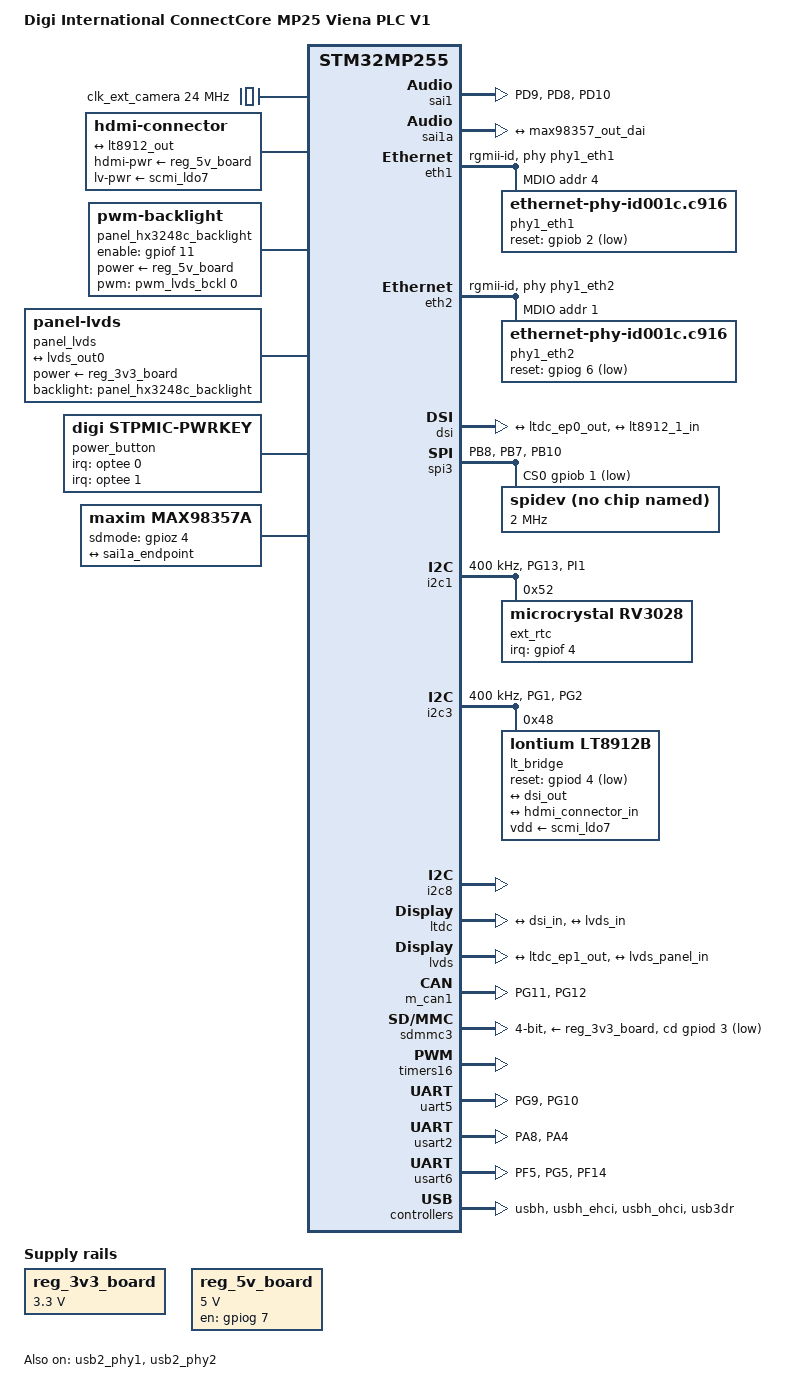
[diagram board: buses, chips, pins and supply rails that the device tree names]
// SPDX-License-Identifier: (GPL-2.0-or-later OR BSD-3-Clause)
/*
 * Copyright (C) 2024,2025, Digi International Inc.
 *
 * Permission to use, copy, modify, and/or distribute this software for any
 * purpose with or without fee is hereby granted, provided that the above
 * copyright notice and this permission notice appear in all copies.
 * THE SOFTWARE IS PROVIDED "AS IS" AND THE AUTHOR DISCLAIMS ALL WARRANTIES
 * WITH REGARD TO THIS SOFTWARE INCLUDING ALL IMPLIED WARRANTIES OF
 * MERCHANTABILITY AND FITNESS. IN NO EVENT SHALL THE AUTHOR BE LIABLE FOR
 * ANY SPECIAL, DIRECT, INDIRECT, OR CONSEQUENTIAL DAMAGES OR ANY DAMAGES
 * WHATSOEVER RESULTING FROM LOSS OF USE, DATA OR PROFITS, WHETHER IN AN
 * ACTION OF CONTRACT, NEGLIGENCE OR OTHER TORTIOUS ACTION, ARISING OUT OF
 * OR IN CONNECTION WITH THE USE OR PERFORMANCE OF THIS SOFTWARE.
 */

/dts-v1/;

/* Digi ConnectCore MP25 (SOM) */
#include "ccmp25.dtsi"

#include <dt-bindings/gpio/gpio.h>
#include <dt-bindings/input/input.h>
#include <dt-bindings/leds/common.h>
#include <dt-bindings/regulator/st,stm32mp25-regulator.h>
#include "dt-bindings/pwm/pwm.h"

/ {
	model = "Digi International ConnectCore MP25 Viena PLC V1";
	compatible = "digi,ccmp25-dvk", "digi,ccmp25", "digi,ccmp2", "st,stm32mp255";
	digi,machine,name = "ccmp255-dvk";

	system-info {
    	compatible = "Viena,system-info";
		product-id = "Viena-CCMP25";
    	pcb-revision = "Rev 1.0";
    	firmware-version = "DEY5.0r3-20260427-dualdisplay-version";
	};

	aliases {
		ethernet0 = &eth1;
		ethernet1 = &eth2;
		serial2 = &uart5; /* Console M33 */
		serial3 = &usart6; /* COMM */
	};

	chosen {
		stdout-path = "serial0:115200n8";
		#address-cells = <2>;
		#size-cells = <2>;
		ranges;

		framebuffer {
			compatible = "simple-framebuffer";
			clocks = <&rcc CK_BUS_LTDC>, <&rcc CK_KER_LTDC>,
				 <&rcc CK_BUS_LVDS>, <&rcc CK_KER_LVDSPHY>;
			status = "disabled";
		};
	};

	clocks {
		cec_clock: cec-clock {
			compatible = "fixed-clock";
			#clock-cells = <0>;
			clock-frequency = <12000000>;
		};

		clk_ext_camera: clk-ext-camera {
			#clock-cells = <0>;
			compatible = "fixed-clock";
			clock-frequency = <24000000>;
		};

		pad_clk: pad-clk {
			#clock-cells = <0>;
			compatible = "fixed-clock";
			clock-frequency = <100000000>;
		};
	};

	hdmi_connector: hdmi-connector {
		compatible = "hdmi-connector";
		label = "hdmi";
		type = "a";
		hdmi-pwr-supply = <&reg_5v_board>;
		lv-pwr-supply = <&scmi_ldo7>; /* 1V8_HDMI */
		// hpd-gpios = <&gpiod 2 GPIO_ACTIVE_HIGH>;
		status = "okay";

		port {
			hdmi_connector_in: endpoint {
				remote-endpoint = <&lt8912_out>;
			};
		};
	};

	panel_hx3248c_backlight: panel-lvds-pwm-backlight {
		compatible = "pwm-backlight";
		/* node TIM16_CH1 period (ns)  20kHz = 50000 */
		pwms = <&pwm_lvds_bckl 0 50000 0>;
		enable-gpios = <&gpiof 11 GPIO_ACTIVE_HIGH>;
    	// brightness-levels = <0 5 15 30 50 75 100 130 165 205 255>;
		brightness-levels = <255 180 170 150 130 100 70 45 25 10 0>;     
    	/* 反相关系，默认亮度：索引 7 → 值 45 ，约50%占空比 */
    	default-brightness-level = <7>;
		power-supply = <&reg_5v_board>;
		power-on-delay-ms = <5>;
    	power-off-delay-ms = <5>;
		status = "okay";
	};

	panel_lvds: panel-lvds {
		compatible = "panel-lvds";
		power-supply = <&reg_3v3_board>;
		/*backlight = <&panel_lvds_gpio_backlight>;*/
		backlight = <&panel_hx3248c_backlight>;
		status = "okay";

		width-mm = <235>;
		height-mm = <143>;
		data-mapping = "vesa-24";

		panel-timing {
			clock-frequency = <51200000>;
			hactive = <1024>;
        	vactive = <600>;
	        hfront-porch = <160>;
    	    hback-porch = <160>;
        	hsync-len = <10>;
	        vfront-porch = <12>;
    	    vback-porch = <23>;
        	vsync-len = <3>;
			hsync-active = <0>;
			vsync-active = <0>;
			de-active = <1>;
			pixelclk-active = <0>;
		};

		port {
			lvds_panel_in: endpoint {
				remote-endpoint = <&lvds_out0>;
			};
		};
	};



	power_button {
		compatible = "digi,stpmic-pwrkey";
		interrupts-extended = <&optee 0>, <&optee 1>;
		interrupt-names = "stpmic_pwrkey_fall", "stpmic_pwrkey_rise";
		status = "okay";
	};


	regulators {
		compatible = "simple-bus";
		#address-cells = <1>;
		#size-cells = <0>;

		reg_3v3_board: regulator-board@1 {
			compatible = "regulator-fixed";
			reg = <1>;
			regulator-name = "3v3_board";
			regulator-min-microvolt = <3300000>;
			regulator-max-microvolt = <3300000>;
			regulator-always-on;
			status = "okay";
		};

		reg_5v_board: regulator-board@2 {
			compatible = "regulator-fixed";
			reg = <2>;
			regulator-name = "5v_board";
			regulator-min-microvolt = <5000000>;
			regulator-max-microvolt = <5000000>;
			regulator-enable-ramp-delay = <8000>;
			gpio = <&gpiog 7 GPIO_ACTIVE_HIGH>; /* 5V_BOARD_EN */
			enable-active-high;
			status = "okay";
		};
	};

	/* AUDIO */
    sound_max98357: sound-max98357 {
        compatible = "audio-graph-card";
        label = "ccmp25-Viena-board";
        status = "okay";
        dais = <&sai1a_port &max98357_out_dai>;
    };

    // MAX98357 Codec 设备节点
    max98357: max98357@0 {
        #sound-dai-cells = <0>;
        compatible = "maxim,max98357a";
        //reg = <0>;
        status = "okay";

        maxim,gain = <2>; 
		sdmode-gpios = <&gpioz 4 GPIO_ACTIVE_HIGH>;

        // 如果 SD/MODE 引脚由硬件固定，不需要软件控制，可以不写以下属性
        // maxim,mode = "i2s"; 

        // 定义端口和端点
        #address-cells = <1>;
        #size-cells = <0>;
        port@0 {
            reg = <0>;
            max98357_out_dai: endpoint {
                remote-endpoint = <&sai1a_endpoint>;
            };
        };
    };


	digital-io {
		status = "okay";
		pinctrl-names = "default", "sleep";
		pinctrl-0 = <&ccmp25_gpio_pins &ccmp25_gpio_z_pins>;
		pinctrl-1 = <&ccmp25_gpio_sleep_pins &ccmp25_gpio_z_sleep_pins>;
	};
};

&sai1 {
    pinctrl-names = "default", "sleep";
    pinctrl-0 = <&ccmp25_sai1a_pins>;
    pinctrl-1 = <&ccmp25_sai1a_sleep_pins>;
    status = "okay";
};

&sai1a {
    status = "okay";

    sai1a_port: port {
        sai1a_endpoint: endpoint {
            remote-endpoint = <&max98357_out_dai>; 
            format = "i2s";
            dai-tdm-slot-num = <2>;
            dai-tdm-slot-width = <32>;
        };
    };
};


&eth1 {

	status = "okay";
	pinctrl-0 = <&eth1_rgmii_pins_a &eth1_mdio_pins_a>;
	pinctrl-1 = <&eth1_rgmii_sleep_pins_a &eth1_mdio_sleep_pins_a>;
	pinctrl-names = "default", "sleep";
	phy-mode = "rgmii-id";
	max-speed = <1000>;
	phy-handle = <&phy1_eth1>;
	st,eth-clk-sel;
	snps,ext-systime;

	mdio1 {
		#address-cells = <1>;
		#size-cells = <0>;
		compatible = "snps,dwmac-mdio";
		phy1_eth1: ethernet-phy@4 {
			compatible = "ethernet-phy-id001c.c916";
			reset-gpios =  <&gpiob 2 GPIO_ACTIVE_LOW>;
			reset-assert-us = <10000>;
			reset-deassert-us = <80000>;
			realtek,eee-disable;
			reg = <4>;
		};
	};
};

&eth2 {

	status = "okay";
	pinctrl-0 = <&eth2_rgmii_pins_a>;
	pinctrl-1 = <&eth2_rgmii_sleep_pins_a>;
	pinctrl-names = "default", "sleep";
	phy-mode = "rgmii-id";
	max-speed = <1000>;
	phy-handle = <&phy1_eth2>;
	st,eth-ptp-from-rcc;

	mdio1 {
		#address-cells = <1>;
		#size-cells = <0>;
		compatible = "snps,dwmac-mdio";
		phy1_eth2: ethernet-phy@1 {
			compatible = "ethernet-phy-id001c.c916";
			reset-gpios =  <&gpiog 6 GPIO_ACTIVE_LOW>;
			reset-assert-us = <10000>;
			reset-deassert-us = <80000>;
			realtek,eee-disable;
			reg = <1>;
		};
	};

};

&dsi {
	vdd-supply =  <&scmi_vddcore>;
	vdda18-supply = <&scmi_v1v8>;
	status = "okay";

	ports {
		#address-cells = <1>;
		#size-cells = <0>;

		port@0 {
			reg = <0>;
			dsi_in: endpoint {
				remote-endpoint = <&ltdc_ep0_out>;
			};
		};

		port@1 {
			reg = <1>;
			dsi_out: endpoint {
				remote-endpoint = <&lt8912_1_in>;
			};
		};
	};
};

&spi3 {
	pinctrl-names = "default", "sleep";
	pinctrl-0 = <&ccmp25_spi3_pins>;
	pinctrl-1 = <&ccmp25_spi3_sleep_pins>;
	cs-gpios = <&gpiob 1 GPIO_ACTIVE_LOW>;

	status = "okay";

	spidev@0 {
    	compatible = "rohm,dh2228fv";
    	reg = <0>;
    	spi-max-frequency = <2000000>;
	};
    
	touchscreen: touchscreen@0 {
		compatible = "ti,tsc2046";       /* tsc2046 */
		reg = <0>;                        /* SPI片选0 */
		spi-max-frequency = <2000000>;
		vcc-supply = <&reg_3v3_board>;
        
		interrupt-parent = <&gpiod>;
		interrupts = <5 IRQ_TYPE_EDGE_FALLING>;
		pendown-gpio = <&gpiod 5 GPIO_ACTIVE_LOW>;

 		ti,x-min = /bits/ 16 <50>;
		ti,x-max = /bits/ 16 <4050>;
		ti,y-min = /bits/ 16 <50>;
		ti,y-max = /bits/ 16 <4050>;
		ti,x-plate-ohms = /bits/ 16 <690>;

		//ti,pressure-min = /bits/ 16 <80>; 
		ti,pressure-max = /bits/ 16 <4095>; 

		// touchscreen-average-samples = <4>
		ti,debounce-max = <50>;
        ti,debounce-tol = <15>;
		ti,debounce-rep = <3>;
		ti,settle-delay-usec = <150>;
		ti,settle-samples; 
		ti,vref-delay-usecs = <100>;
		//penirq-recheck-delay-usecs = <15>;
		ti,keep-vref-on;
		//ti,vref-mv = <0>;

		wakeup-source;
		status = "disabled";

    };
};

/* Peripheral I2C bus (J18 Connector) */
&i2c1 {
	pinctrl-names = "default", "sleep";
	pinctrl-0 = <&ccmp25_i2c1_pins>;
	pinctrl-1 = <&ccmp25_i2c1_sleep_pins>;
	i2c-scl-rising-time-ns = <185>;
	i2c-scl-falling-time-ns = <20>;
	clock-frequency = <400000>;
	status = "okay";
	/* spare dmas for other usage */
	/delete-property/dmas;
	/delete-property/dma-names;


	ext_rtc: ext_rtc@52 {
		compatible = "microcrystal,rv3028";
		reg = <0x52>;
		interrupt-parent = <&gpiof>;
		interrupts = <4 IRQ_TYPE_EDGE_FALLING>; /* RTC_INT_N */
		wakeup-source;
	};
};

&i2c3 {
	pinctrl-names = "default", "sleep";
	pinctrl-0 = <&ccmp25_i2c3_pins>;
	pinctrl-1 = <&ccmp25_i2c3_sleep_pins>;
	i2c-scl-rising-time-ns = <185>;
	i2c-scl-falling-time-ns = <20>;
	clock-frequency = <400000>;
	status = "okay";
	/* spare dmas for other usage */
	/delete-property/dmas;
	/delete-property/dma-names;

	lt_bridge: lt8912@48 {
		compatible = "lontium,lt8912b";
		reg = <0x48>;
		reset-gpios = <&gpiod 4 GPIO_ACTIVE_LOW>;
		vdd-supply = <&scmi_ldo7>; /* 1V8_HDMI */
		status = "okay";

		ports {
			#address-cells = <1>;
			#size-cells = <0>;

			port@0 {
				reg = <0>;
				lt8912_1_in: endpoint {
					data-lanes = <1 2 3 4>;
					remote-endpoint = <&dsi_out>;
				};
			};

			port@1 {
				reg = <1>;
				lt8912_out: endpoint {
					remote-endpoint = <&hdmi_connector_in>;
				};
			};
		};

		display-timings {
			native-mode = <&timing2>;

			/* High Definition */
			timing0: timing0 {
				clock-frequency = <74250000>;
				hactive = <1280>;
				vactive = <720>;
				hfront-porch = <110>;
				hsync-len = <40>;
				hback-porch = <220>;
				vfront-porch = <5>;
				vsync-len = <5>;
				vback-porch = <20>;
				hsync-active = <0>;
				vsync-active = <0>;
				de-active = <0>;
				pixelclk-active = <0>;
			};

			/* Full HD */
			timing1: timing1 {
				clock-frequency = <148500000>;
				hactive = <1920>;
				vactive = <1080>;
				hfront-porch = <88>;
				hsync-len = <44>;
				hback-porch = <148>;
				vfront-porch = <4>;
				vsync-len = <5>;
				vback-porch = <36>;
				hsync-active = <0>;
				vsync-active = <0>;
				de-active = <0>;
				pixelclk-active = <0>;
			};

			/* lvds clone */

			timing2: timing2 {
                    clock-frequency = <51200000>;
                    hactive = <1024>;
                    vactive = <600>;
                    hfront-porch = <160>;
                    hsync-len = <10>;
                    hback-porch = <160>;
                    vfront-porch = <12>;
                    vsync-len = <3>;
                    vback-porch = <23>;
                    hsync-active = <0>;
                    vsync-active = <0>;
                    de-active = <1>;
                    pixelclk-active = <0>;
                };
		};
	};

};

&i2c8 {
    pinctrl-names = "default", "sleep";
    pinctrl-0 = <&ccmp25_i2c8_z_pins>;
    pinctrl-1 = <&ccmp25_i2c8_z_sleep_pins>;
    status = "okay";

    /* USER CODE BEGIN i2c8 */
    /delete-property/dmas;
    /delete-property/dma-names;

    //clock-frequency = <400000>;
    //i2c-scl-rising-time-ns = <185>;
    //i2c-scl-falling-time-ns = <20>;
};

&ltdc {
	/* rotation-memory = <&ltdc_sec_rotation>; */
	status = "okay";

	port {
		#address-cells = <1>;
		#size-cells = <0>;

		ltdc_ep0_out: endpoint@0 {
			reg = <0>;
			remote-endpoint = <&dsi_in>;
		};

		ltdc_ep1_out: endpoint@1 {
			reg = <1>;
			remote-endpoint = <&lvds_in>;
		};
	};
};


&lvds {
	vdd-supply =  <&scmi_vddcore>;
	vdda18-supply = <&scmi_v1v8>;
	status = "okay";

	ports {
		#address-cells = <1>;
		#size-cells = <0>;

		port@0 {
			reg = <0>;
			lvds_in: endpoint {
				remote-endpoint = <&ltdc_ep1_out>;
			};
		};

		port@1 {
			reg = <1>;
			lvds_out0: endpoint {
				remote-endpoint = <&lvds_panel_in>;
			};
		};
	};
};

/* FDCAN1 */
&m_can1 {
	pinctrl-names = "default", "sleep";
	pinctrl-0 = <&ccmp25_can1_pins>;
	pinctrl-1 = <&ccmp25_can1_sleep_pins>;
	status = "okay";
};



/* Micro SD */
&sdmmc3 {
	pinctrl-names = "default", "opendrain", "sleep";
	pinctrl-0 = <&sdmmc3_b4_pins_a>;
	pinctrl-1 = <&sdmmc3_b4_od_pins_a>;
	pinctrl-2 = <&sdmmc3_b4_sleep_pins_a>;
	cd-gpios = <&gpiod 3 GPIO_ACTIVE_LOW>;
	disable-wp;
	st,neg-edge;
	no-1-8-v;
	bus-width = <4>;
	vmmc-supply = <&reg_3v3_board>; /* card's VDD pin */
	vqmmc-supply = <&scmi_vddio3>;
	status = "okay";
};

&timers8 {
    status = "disabled";

    /* USER CODE BEGIN timers8 */
    /delete-property/dmas;
    /delete-property/dma-names;
    /* USER CODE END timers8 */

    /* Set the desired PWM name */
    pwm28: pwm {
        pinctrl-names = "default", "sleep";
        pinctrl-0 = <&ccmp25_timers8_ch1_2_pwm_pins>;
        pinctrl-1 = <&ccmp25_timers8_ch1_2_pwm_sleep_pins>;
        status = "okay";
    };

    /*
     * Uncomment to enable timer trigger on STANDARD TIMER.
     *
     * Set <TRIGGER_INDEX> to (timer_index - 1)
     */
    //timer@<TRIGGER_INDEX> {
    //    status = "okay";
    //};

    /*
     * Uncomment to enable timer trigger on LPTIMER only.
     *
     * Set <TRIGGER_INDEX> to (lptimer_index - 1)
     */
    //trigger@<TRIGGER_INDEX> {
    //    status = "okay";
    //};

    /*
     * Uncomment and configure to enable counter/quadrature decoder.
     */
    //counter {
    //    status = "okay";
    //};
};


&timers16 {
    status = "okay";

    /* USER CODE BEGIN timers16 */
    /delete-property/dmas;
    /delete-property/dma-names;
    /* USER CODE END timers16 */

    /* Set the desired PWM name */
    pwm_lvds_bckl: pwm {
        pinctrl-names = "default", "sleep";
        pinctrl-0 = <&ccmp25_timers16_ch1_pwm_pins>;
        pinctrl-1 = <&ccmp25_timers16_ch1_pwm_sleep_pins>;
        status = "okay";
    };

    /*
     * Uncomment to enable timer trigger on STANDARD TIMER.
     *
     * Set <TRIGGER_INDEX> to (timer_index - 1)
     */
    timer@15 {
        status = "okay";
    };

    /*
     * Uncomment to enable timer trigger on LPTIMER only.
     *
     * Set <TRIGGER_INDEX> to (lptimer_index - 1)
     */
    //trigger@<TRIGGER_INDEX> {
    //    status = "okay";
    //};
};

&uart5 {
	pinctrl-names = "default", "sleep";
	pinctrl-0 = <&ccmp25_uart5_pins>;
	pinctrl-1 = <&ccmp25_uart5_sleep_pins>;
	status = "okay";

	/* USER CODE BEGIN uart5 */
	/delete-property/dmas;
	/delete-property/dma-names;
	/* USER CODE END uart5 */
};

/* Console A35 */
&usart2 {
	pinctrl-names = "default", "sleep";
	pinctrl-0 = <&ccmp25_usart2_pins>;
	pinctrl-1 = <&ccmp25_usart2_sleep_pins>;
	/delete-property/dmas;
	/delete-property/dma-names;
	status = "okay";
};

&usart6 {
    pinctrl-names = "default", "sleep";
    pinctrl-0 = <&ccmp25_usart6_board_pins>;
    pinctrl-1 = <&ccmp25_usart6_board_sleep_pins>;
    status = "okay";

    /* USER CODE BEGIN usart6 */
    /delete-property/dmas;
    /delete-property/dma-names;
    //linux,rs485-enabled-at-boot-time; // Set when using RS485.
    uart-has-rtscts;
    /* USER CODE END usart6 */
};

/* USB 2.0 Host */
&usb2_phy1 {
	vdd33-supply = <&scmi_vdd3v3_usb>;
	status = "okay";
};


&usbh {
	status = "okay";
};

&usbh_ehci {
	status = "okay";
};

&usbh_ohci {
    status = "okay";
};

/* USB 2.0/3.0 Host/Device */
&usb2_phy2 {
	vdd33-supply = <&scmi_vdd3v3_usb>;
	status = "okay";
};

&usb3dr {
	status = "okay";

	dwc3: usb@48300000 {
		maximum-speed = "high-speed";
		usb-role-switch;
		role-switch-default-mode = "peripheral";
	};
};


&pinctrl {
	ccmp25_sai1a_pins: ccmp25-sai1a {
        pins {
            pinmux = <STM32_PINMUX('D',  9,  AF3)>, /* SAI1_SD_A */
                     <STM32_PINMUX('D',  8,  AF3)>, /* SAI1_FS_A */
                     <STM32_PINMUX('D', 10,  AF3)>; /* SAI1_SCK_A */
            drive-push-pull;
            bias-disable;
            slew-rate = <0>;
        };
    };

    ccmp25_sai1a_sleep_pins: ccmp25-sai1a-sleep {
        pins {
            pinmux = <STM32_PINMUX('D',  9, ANALOG)>, /* SAI1_SD_A */
                     <STM32_PINMUX('D',  8, ANALOG)>, /* SAI1_FS_A */
                     <STM32_PINMUX('D', 10, ANALOG)>; /* SAI1_SCK_A */
        };
    };

	ccmp25_can1_pins: ccmp25-can1 {
		pins1 {
			pinmux = <STM32_PINMUX('G', 11,  AF7)>; /* FDCAN1_TX */
			drive-push-pull;
			bias-disable;
			slew-rate = <1>;
		};
		pins2 {
			pinmux = <STM32_PINMUX('G', 12,  AF7)>; /* FDCAN1_RX */
			bias-disable;
		};
	};

	ccmp25_can1_sleep_pins: ccmp25-can1-sleep {
		pins {
			pinmux = <STM32_PINMUX('G', 11, ANALOG)>, /* FDCAN1_TX */
					 <STM32_PINMUX('G', 12, ANALOG)>; /* FDCAN1_RX */
		};
	};

    ccmp25_spi3_pins: ccmp25-spi3 {
        pins1 {
            pinmux = <STM32_PINMUX('B',  8,  AF1)>, /* SPI3_MOSI */
                     <STM32_PINMUX('B',  7,  AF1)>; /* SPI3_SCK */
            drive-push-pull;
            bias-disable;
            slew-rate = <1>;
        };
        pins2 {
            pinmux = <STM32_PINMUX('B', 10,  AF1)>; /* SPI3_MISO */
            bias-pull-up;
        };
    };
    
    ccmp25_spi3_sleep_pins: ccmp25-spi3-sleep {
        pins {
            pinmux = <STM32_PINMUX('B',  8, ANALOG)>, /* SPI3_MOSI */
                     <STM32_PINMUX('B', 10, ANALOG)>, /* SPI3_MISO */
                     <STM32_PINMUX('B',  7, ANALOG)>; /* SPI3_SCK */
        };
    };

	ccmp25_gpio_pins: ccmp25-gpio {

		pins1 {
			pinmux = <STM32_PINMUX('F',  11, GPIO)>;  /* PF11_GPIO */
			drive-push-pull;
			bias-disable;
			slew-rate = <0>;
		};
		pins2 {
            pinmux = <STM32_PINMUX('A', 12, GPIO)>, /* PA12_GPIO */
					 <STM32_PINMUX('F', 10, ANALOG)>, /* DI13_GPIO */
					 <STM32_PINMUX('B',  3, GPIO)>, /* PB3_GPIO */
					 <STM32_PINMUX('B',  15, ANALOG)>,  /* PB15_GPIO_DIN */ 					 
					 <STM32_PINMUX('G',  3, GPIO)>, /* LED_WARNING_GPIO */					 
					 <STM32_PINMUX('G',  5, GPIO)>,  /* PG5_GPIO */
					 <STM32_PINMUX('G',  8, ANALOG)>,  /* PG8_GPIO_DIN */
					 <STM32_PINMUX('F',  10, GPIO)>,  /* PF10_GPIO_DIN */
					 <STM32_PINMUX('F',  13, GPIO)>,  /* PF13_GPIO */
					 <STM32_PINMUX('F',  3, GPIO)>,  /* PF3_GPIO */
					 <STM32_PINMUX('D',  6, GPIO)>,  /* PD6_GPIO */
					 <STM32_PINMUX('F',  4, GPIO)>,  /* PF4_GPIO */
					 <STM32_PINMUX('G',  4, GPIO)>, /* PG4_GPIO */
					 <STM32_PINMUX('H',  2, ANALOG)>,  /* PH2_GPIO  related to TIM16 */ 
					 <STM32_PINMUX('H',  6, ANALOG)>,  /* PH2_GPIO  related to TIM16 */ 
					 <STM32_PINMUX('H',  3, ANALOG)>,  /* PH3_GPIO_DIN */					 					 
					 <STM32_PINMUX('H',  4, GPIO)>,  /* PH4_GPIO */ 					 
					 <STM32_PINMUX('H',  5, ANALOG)>,  /* PH5_GPIO_DIN */
					 <STM32_PINMUX('F',  15, ANALOG)>,  /* PF15_GPIO_DIN */  
					 <STM32_PINMUX('I',  8, GPIO)>, /* PI8/LPO32_GPIO */
					 <STM32_PINMUX('I',  9, GPIO)>, /* PI9_GPIO */
					 <STM32_PINMUX('I',  10, ANALOG)>,  /* PI10_GPIO_DIN */ 
					 <STM32_PINMUX('A',  1, ANALOG)>,  /* PA1_GPIO_DIN */ 
					 <STM32_PINMUX('A',  7, ANALOG)>,  /* PA7_GPIO_DIN */
					 <STM32_PINMUX('F',  12, ANALOG)>,  /* PF12_GPIO_DIN */
					 <STM32_PINMUX('I',  6, ANALOG)>;  /* PI6_GPIO_DIN */					    
            bias-disable;
        };
	};

	ccmp25_gpio_sleep_pins: ccmp25-gpio-sleep {
		pins {
			pinmux = <STM32_PINMUX('F', 10, ANALOG)>, /* PF10_GPIO */
					 <STM32_PINMUX('I',  0, ANALOG)>, /* SAI4_MCLK_B_GPIO */
					 <STM32_PINMUX('G',  3, ANALOG)>, /* PG3_GPIO */
					 <STM32_PINMUX('G',  8, ANALOG)>,  /* PG8_GPIO_DIN */
					 <STM32_PINMUX('I',  9, ANALOG)>, /* PI9_GPIO */
					 <STM32_PINMUX('B',  3, ANALOG)>, /* PB3_GPIO */
					 <STM32_PINMUX('A',  7, ANALOG)>,  /* PA7_GPIO_DIN */
					 <STM32_PINMUX('A', 12, ANALOG)>, /* PA12_GPIO */
					 <STM32_PINMUX('G',  4, ANALOG)>, /* PG4_GPIO */
					 <STM32_PINMUX('G',  5, ANALOG)>,  /* PG5_GPIO */
					 <STM32_PINMUX('F',  11, ANALOG)>,  /* PF11_GPIO */
					 <STM32_PINMUX('F',  13, ANALOG)>,  /* PF13_GPIO */
					 <STM32_PINMUX('F',  3, ANALOG)>,  /* PF3_GPIO */
					 <STM32_PINMUX('D',  6, ANALOG)>,  /* PD6_GPIO */
					 <STM32_PINMUX('F',  4, ANALOG)>,  /* PF4_GPIO */
					 <STM32_PINMUX('I',  4, ANALOG)>,  /* PGI4_GPIO */ 
					 <STM32_PINMUX('H',  2, ANALOG)>,  /* PH2_GPIO  related to TIM16 */ 
					 <STM32_PINMUX('H',  6, ANALOG)>,  /* PH2_GPIO  related to TIM16 */ 					 
					 <STM32_PINMUX('H',  5, ANALOG)>,  /* PH5_GPIO */
					 <STM32_PINMUX('F',  15, ANALOG)>,  /* PF15_GPIO */  
					 <STM32_PINMUX('I',  10, ANALOG)>,  /* PI10_GPIO */ 
					 <STM32_PINMUX('A',  1, ANALOG)>,  /* PA1_GPIO */ 
					 <STM32_PINMUX('F',  12, ANALOG)>,  /* PF12_GPIO */
					 <STM32_PINMUX('H',  4, ANALOG)>;  /* PH4_GPIO */ 
		};
	};

    ccmp25_timers1ch1_2_pwm_pins: ccmp25-timers1ch1_2-pwm {
        pins {
            pinmux = <STM32_PINMUX('D', 7, GPIO)>,  /* TIM1_CH1 */
                     <STM32_PINMUX('D', 10, GPIO)>; /* TIM1_CH2 */
            drive-push-pull;
            bias-disable;
            slew-rate = <1>;  // high speed 
        };
    };

    ccmp25_timers1ch1_2_pwm_sleep_pins: ccmp25-timers1ch1_2-pwm-sleep {
        pins {
			pinmux = <STM32_PINMUX('D', 7, ANALOG)>, /* TIM1_CH1_PWM */
                     <STM32_PINMUX('D', 10, ANALOG)>;  /* TIM1_CH2_PWM */
        };
    };

	ccmp25_i2c1_pins: ccmp25-i2c1 {
		pins {
			pinmux = <STM32_PINMUX('G', 13,  AF9)>, /* I2C1_SCL */
					 <STM32_PINMUX('I',  1,  AF9)>; /* I2C1_SDA */
			drive-open-drain;
			bias-disable;
			slew-rate = <0>;
		};
	};

	ccmp25_i2c1_sleep_pins: ccmp25-i2c1-sleep {
		pins {
			pinmux = <STM32_PINMUX('G', 13, ANALOG)>, /* I2C1_SCL */
					 <STM32_PINMUX('I',  1, ANALOG)>; /* I2C1_SDA */
		};
	};

	ccmp25_i2c3_pins: ccmp25-i2c3 {
		pins {
			pinmux = <STM32_PINMUX('G',  1,  AF9)>, /* I2C3_SCL */
					 <STM32_PINMUX('G',  2,  AF9)>; /* I2C3_SDA */
			drive-open-drain;
			bias-disable;
			slew-rate = <0>;
		};
	};

	ccmp25_i2c3_sleep_pins: ccmp25-i2c3-sleep {
		pins {
			pinmux = <STM32_PINMUX('G',  1, ANALOG)>, /* I2C3_SCL */
					 <STM32_PINMUX('G',  2, ANALOG)>; /* I2C3_SDA */
		};
	};

	ccmp25_uart5_pins: ccmp25-uart5 {
		pins1 {
			pinmux = <STM32_PINMUX('G',  9,  AF5)>; /* UART5_TX */
			drive-push-pull;
			bias-disable;
			slew-rate = <0>;
		};
		pins2 {
			pinmux = <STM32_PINMUX('G', 10,  AF5)>; /* UART5_RX */
			bias-disable;
		};
	};

	ccmp25_uart5_sleep_pins: ccmp25-uart5-sleep {
		pins {
			pinmux = <STM32_PINMUX('G',  9, ANALOG)>, /* UART5_TX */
					 <STM32_PINMUX('G', 10, ANALOG)>; /* UART5_RX */
		};
	};


	ccmp25_usart2_pins: ccmp25-usart2 {
		pins1 {
			pinmux = <STM32_PINMUX('A',  8,  AF8)>; /* USART2_RX */
			bias-disable;
		};
		pins2 {
			pinmux = <STM32_PINMUX('A',  4,  AF6)>; /* USART2_TX */
			drive-push-pull;
			bias-disable;
			slew-rate = <0>;
		};
	};

	ccmp25_usart2_sleep_pins: ccmp25-usart-sleep-2 {
		pins {
			pinmux = <STM32_PINMUX('A',  8, ANALOG)>, /* USART2_RX */
					 <STM32_PINMUX('A',  4, ANALOG)>; /* USART2_TX */
		};
	};

    ccmp25_usart6_board_pins: ccmp25-usart6 {
        pins1 {
            pinmux = <STM32_PINMUX('F',  5,  AF3)>, /* USART6_TX */
                     <STM32_PINMUX('G',  5,  AF3)>; /* USART6_DE */
            drive-push-pull;
            bias-disable;
            slew-rate = <0>;
        };
        pins2 {
            pinmux = <STM32_PINMUX('F', 14,  AF3)>; /* USART6_RX */
            bias-disable;
        };
    };

    ccmp25_usart6_board_sleep_pins: ccmp25-usart-sleep-6 {
        pins {
            pinmux = <STM32_PINMUX('F',  5, ANALOG)>, /* USART6_TX */
                     <STM32_PINMUX('F', 14, ANALOG)>, /* USART6_RX */
                     <STM32_PINMUX('G',  5, ANALOG)>; /* USART6_DE */
        };
    };

    ccmp25_can1_pins: ccmp25-can1 {
        pins1 {
            pinmux = <STM32_PINMUX('G', 11,  AF7)>; /* FDCAN1_TX */
            drive-push-pull;
            bias-disable;
            slew-rate = <1>;
        };
        pins2 {
            pinmux = <STM32_PINMUX('G', 12,  AF7)>; /* FDCAN1_RX */
            bias-disable;
        };
    };
    
    ccmp25_can1_sleep_pins: ccmp25-can1-sleep {
        pins {
            pinmux = <STM32_PINMUX('G', 11, ANALOG)>, /* FDCAN1_TX */
                     <STM32_PINMUX('G', 12, ANALOG)>; /* FDCAN1_RX */
        };
    };

	ccmp25_timers8_ch1_2_pwm_pins: ccmp25-timers8-ch1_2-pwm {
        pins {
            pinmux = <STM32_PINMUX('I',  2,  GPIO)>,  /* TIM8_CH1 */
					 <STM32_PINMUX('I',  3,  GPIO)>; /* TIM8_CH2 */
            drive-push-pull;
            bias-disable;
            slew-rate = <0>;
        };
    };

    ccmp25_timers8_ch1_2_pwm_sleep_pins: ccmp25-timers8-ch1_2-pwm-sleep {
        pins {
            pinmux = <STM32_PINMUX('I',  2, ANALOG)>, /* TIM8_CH1 */
					 <STM32_PINMUX('I',  3, ANALOG)>; /* TIM8_CH2 */
        };
    };

    ccmp25_timers16_ch1_pwm_pins: ccmp25-timers16-ch1-pwm {
        pins {
            pinmux = <STM32_PINMUX('B',  0,  AF7)>; /* TIM16_CH1_PWM */
            drive-push-pull;
            bias-disable;
            slew-rate = <1>;
        };
    };

    ccmp25_timers16_ch1_pwm_sleep_pins: ccmp25-timers16-ch1-pwm-sleep {
        pins {
            pinmux = <STM32_PINMUX('B',  0, ANALOG)>; /* TIM16_CH1_PWM */
        };
    };

};

&pinctrl_z {
	ccmp25_gpio_z_pins: ccmp25-gpio {
		pins1 {
			pinmux = <STM32_PINMUX('Z',  7, ANALOG)>, /* PZ7_GPIO_DIN */
					 <STM32_PINMUX('Z',  8, ANALOG)>, /* PZ8_GPIO_DIN */
					 <STM32_PINMUX('Z',  1, ANALOG)>, /* PZ1_GPIO */
					 <STM32_PINMUX('Z',  0, ANALOG)>, /* PZ0_GPIO_DIN */
					 <STM32_PINMUX('Z',  3, ANALOG)>; /* PZ3_GPIO */
			bias-disable;
			slew-rate = <0>;
		};
	};

	ccmp25_gpio_z_sleep_pins: ccmp25-gpio-sleep {
		pins {
			pinmux = <STM32_PINMUX('Z',  7, ANALOG)>, /* 3V3_RF_EN/PZ6_GPIO */
					 <STM32_PINMUX('Z',  8, ANALOG)>, /* PZ8_GPIO */
					 <STM32_PINMUX('Z',  1, ANALOG)>, /* PZ1_GPIO */
					 <STM32_PINMUX('Z',  0, ANALOG)>, /* PZ0_GPIO */
					 <STM32_PINMUX('Z',  3, ANALOG)>; /* PZ3_GPIO */
		};
	};

    ccmp25_i2c8_z_pins: ccmp25-i2c8 {
        pins {
            pinmux = <STM32_PINMUX('Z',  2,  AF8)>, /* I2C8_SCL */
                     <STM32_PINMUX('Z',  9,  AF8)>; /* I2C8_SDA */
            drive-open-drain;
            bias-disable;
            slew-rate = <0>;
        };
    };

    ccmp25_i2c8_z_sleep_pins: ccmp25-i2c8-sleep {
        pins {
            pinmux = <STM32_PINMUX('Z',  2, ANALOG)>, /* I2C8_SCL */
                     <STM32_PINMUX('Z',  9, ANALOG)>; /* I2C8_SDA */
        };
    };

};
